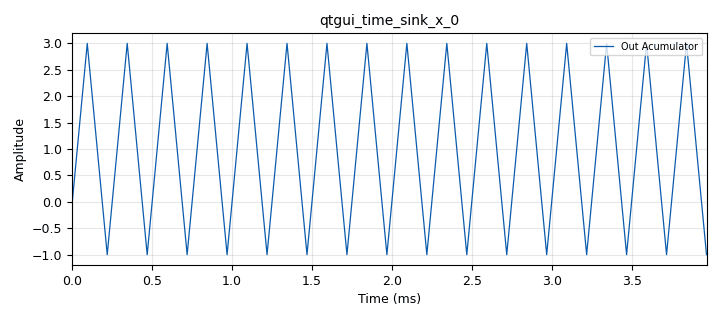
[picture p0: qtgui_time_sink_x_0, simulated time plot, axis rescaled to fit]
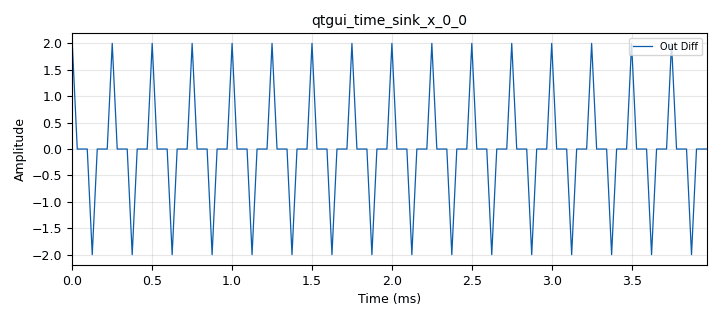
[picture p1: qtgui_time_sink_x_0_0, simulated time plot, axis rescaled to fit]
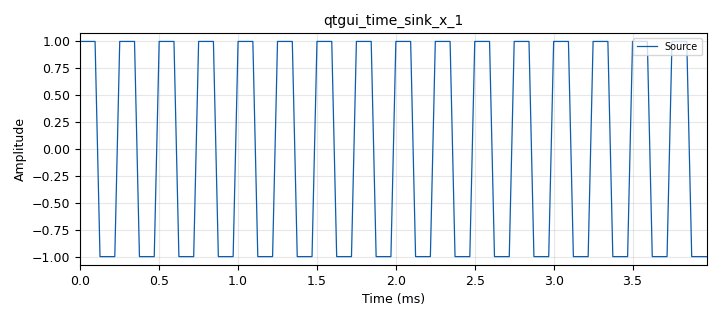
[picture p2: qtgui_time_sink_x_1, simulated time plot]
options:
  parameters:
    generate_options: qt_gui
    id: untitled
    output_language: python
    title: Not titled yet
  states: {}

blocks:
- name: samp_rate
  id: variable
  parameters:
    value: '32000'
  states: {}
- name: Media_b_1
  id: qtgui_number_sink
  parameters:
    graph_type: qtgui.NUM_GRAPH_HORIZ
    name: Media Acumulador
    type: float
  states: {}
- name: Media_b_1_0
  id: qtgui_number_sink
  parameters:
    graph_type: qtgui.NUM_GRAPH_HORIZ
    name: Media Diff
    type: float
  states: {}
- name: blocks_throttle2_0
  id: blocks_throttle2
  parameters:
    samples_per_second: samp_rate
    type: float
  states: {}
- name: blocks_throttle2_0_0
  id: blocks_throttle2
  parameters:
    samples_per_second: samp_rate
    type: float
  states: {}
- name: blocks_vector_source_x_0
  id: blocks_vector_source_x
  parameters:
    repeat: 'True'
    type: float
    vector: (1, 1, 1, 1, -1, -1, -1, -1)
  states: {}
- name: epy_block_0
  id: epy_block
  parameters:
    _source_code: |-
      import numpy as np
      from gnuradio import gr

      class blk(gr.sync_block): 
          def __init__(self, example_param=1.0):
              gr.sync_block.__init__(
                  self,
                  name='e_Acum',
                  in_sig=[np.float32],
                  out_sig=[np.float32]
              )
          
          def work(self,input_items,output_items):
              x = input_items[0]  
              y0 = output_items[0]  

              y0[:] = np.cumsum(x)

              return len(y0)
    example_param: '1.0'
  states: {}
- name: epy_block_1
  id: epy_block
  parameters:
    _source_code: |
      import numpy as np
      from gnuradio import gr

      class blk(gr.sync_block): 

          def __init__(self, example_param=2.0):
              gr.sync_block.__init__(
                  self,
                  name='e_Diff',
                  in_sig=[np.float32],
                  out_sig=[np.float32]
              )
              self.e_Acum = 0

          def work(self,input_items,output_items):
              x = input_items[0]  
              y0 = output_items[0]
              diff = np.diff(np.concatenate(([self.e_Acum],x)))
              y0[:] = diff 
              self.e_Acum = x[-1]
              return len(y0)
    example_param: '2.0'
  states: {}
- name: epy_block_2_1
  id: epy_block
  parameters:
    _source_code: |
      import numpy as np
      from gnuradio import gr


      class blk(gr.sync_block):
          def __init__(self, example_param=3.0):
              gr.sync_block.__init__(
                  self,
                  name='Primedios_de_tiempo',
                  in_sig = [np.float32],
                  out_sig = [np.float32,np.float32,np.float32,np.float32,np.float32]
              )
              self.acum_anterior = 0
              self.Ntotales = 0
              self.acum_anterior1 = 0
              self.acum_anterior2 = 0

          def work(self, input_items, output_items):
              x = input_items[0]
              y0 = output_items[0]
              y1 = output_items[1]
              y2 = output_items[2]
              y3 = output_items[3]
              y4 = output_items[4]

              # Calculo del p r o m e d i o

              N = len( x )
              self.Ntotales = self.Ntotales + N
              acumulado = self.acum_anterior + np.cumsum ( x )
              self.acum_anterior = acumulado[N -1]
              y0[:]= acumulado / self.Ntotales

              # Calculo de la media c u a d r a t i c a
              x2 = np.multiply(x , x )
              acumulado1 = self.acum_anterior1 + np.cumsum(x2)
              self.acum_anterior1 = acumulado[N -1]
              y1[:] = acumulado1 / self.Ntotales

              # Calculo de la RMS
              y2[:] = np.sqrt(y1)

              # Calculo de la p o t e n c i a p r o m e d i o
              y3[:] = np.multiply( y2 , y2 )

              # Calculo de la d e s v i a c i o n e s t a n d a r
              x3 = np.multiply(x - y0 ,x - y0 )
              acumulado2 = self.acum_anterior2 + np.cumsum( x3 )
              self.acum_anterior2 = acumulado2[N -1]
              y4[:] = np.sqrt( acumulado2 / self.Ntotales )

              return len( x )
    example_param: '3.0'
  states: {}
- name: epy_block_2_1_0
  id: epy_block
  parameters:
    _source_code: |
      import numpy as np
      from gnuradio import gr


      class blk(gr.sync_block):
          def __init__(self, example_param=3.0):
              gr.sync_block.__init__(
                  self,
                  name='Primedios_de_tiempo',
                  in_sig = [np.float32],
                  out_sig = [np.float32,np.float32,np.float32,np.float32,np.float32]
              )
              self.acum_anterior = 0
              self.Ntotales = 0
              self.acum_anterior1 = 0
              self.acum_anterior2 = 0

          def work(self, input_items, output_items):
              x = input_items[0]
              y0 = output_items[0]
              y1 = output_items[1]
              y2 = output_items[2]
              y3 = output_items[3]
              y4 = output_items[4]

              # Calculo del p r o m e d i o

              N = len( x )
              self.Ntotales = self.Ntotales + N
              acumulado = self.acum_anterior + np.cumsum ( x )
              self.acum_anterior = acumulado[N -1]
              y0[:]= acumulado / self.Ntotales

              # Calculo de la media c u a d r a t i c a
              x2 = np.multiply(x , x )
              acumulado1 = self.acum_anterior1 + np.cumsum(x2)
              self.acum_anterior1 = acumulado[N -1]
              y1[:] = acumulado1 / self.Ntotales

              # Calculo de la RMS
              y2[:] = np.sqrt(y1)

              # Calculo de la p o t e n c i a p r o m e d i o
              y3[:] = np.multiply( y2 , y2 )

              # Calculo de la d e s v i a c i o n e s t a n d a r
              x3 = np.multiply(x - y0 ,x - y0 )
              acumulado2 = self.acum_anterior2 + np.cumsum( x3 )
              self.acum_anterior2 = acumulado2[N -1]
              y4[:] = np.sqrt( acumulado2 / self.Ntotales )

              return len( x )
    example_param: '3.0'
  states: {}
- name: qtgui_number_sink_0_0_1
  id: qtgui_number_sink
  parameters:
    graph_type: qtgui.NUM_GRAPH_HORIZ
    name: Desviacion Estandar Acumulador
    type: float
  states: {}
- name: qtgui_number_sink_0_0_1_0
  id: qtgui_number_sink
  parameters:
    graph_type: qtgui.NUM_GRAPH_HORIZ
    name: Desviacion Estandar Diff
    type: float
  states: {}
- name: qtgui_number_sink_0_1_1
  id: qtgui_number_sink
  parameters:
    graph_type: qtgui.NUM_GRAPH_HORIZ
    name: Potencia Promedio Acumulador
    type: float
  states: {}
- name: qtgui_number_sink_0_1_1_0
  id: qtgui_number_sink
  parameters:
    graph_type: qtgui.NUM_GRAPH_HORIZ
    name: Potencia Promedio Diff
    type: float
  states: {}
- name: qtgui_number_sink_0_2_1
  id: qtgui_number_sink
  parameters:
    graph_type: qtgui.NUM_GRAPH_HORIZ
    name: Media Cuadratica Acumulador
    type: float
  states: {}
- name: qtgui_number_sink_0_2_1_0
  id: qtgui_number_sink
  parameters:
    graph_type: qtgui.NUM_GRAPH_HORIZ
    name: Media Cuadratica Diff
    type: float
  states: {}
- name: qtgui_number_sink_0_3_1
  id: qtgui_number_sink
  parameters:
    graph_type: qtgui.NUM_GRAPH_HORIZ
    name: RMS Acumulador
    type: float
  states: {}
- name: qtgui_number_sink_0_3_1_0
  id: qtgui_number_sink
  parameters:
    graph_type: qtgui.NUM_GRAPH_HORIZ
    name: RMS Acumulador Diff
    type: float
  states: {}
- name: qtgui_time_sink_x_0
  id: qtgui_time_sink_x
  parameters:
    label1: Out Acumulator
    size: '128'
    srate: samp_rate
    type: float
  states: {}
- name: qtgui_time_sink_x_0_0
  id: qtgui_time_sink_x
  parameters:
    label1: Out Diff
    size: '128'
    srate: samp_rate
    type: float
  states: {}
- name: qtgui_time_sink_x_1
  id: qtgui_time_sink_x
  parameters:
    label1: Source
    size: '128'
    srate: samp_rate
    type: float
  states: {}

connections:
- [blocks_throttle2_0, '0', epy_block_2_1, '0']
- [blocks_throttle2_0, '0', qtgui_time_sink_x_0, '0']
- [blocks_throttle2_0_0, '0', epy_block_2_1_0, '0']
- [blocks_throttle2_0_0, '0', qtgui_time_sink_x_0_0, '0']
- [blocks_vector_source_x_0, '0', epy_block_0, '0']
- [blocks_vector_source_x_0, '0', epy_block_1, '0']
- [blocks_vector_source_x_0, '0', qtgui_time_sink_x_1, '0']
- [epy_block_0, '0', blocks_throttle2_0, '0']
- [epy_block_1, '0', blocks_throttle2_0_0, '0']
- [epy_block_2_1, '0', Media_b_1, '0']
- [epy_block_2_1, '1', qtgui_number_sink_0_2_1, '0']
- [epy_block_2_1, '2', qtgui_number_sink_0_3_1, '0']
- [epy_block_2_1, '3', qtgui_number_sink_0_1_1, '0']
- [epy_block_2_1, '4', qtgui_number_sink_0_0_1, '0']
- [epy_block_2_1_0, '0', Media_b_1_0, '0']
- [epy_block_2_1_0, '1', qtgui_number_sink_0_2_1_0, '0']
- [epy_block_2_1_0, '2', qtgui_number_sink_0_3_1_0, '0']
- [epy_block_2_1_0, '3', qtgui_number_sink_0_1_1_0, '0']
- [epy_block_2_1_0, '4', qtgui_number_sink_0_0_1_0, '0']

metadata:
  file_format: 1
  grc_version: 3.10.12.0
